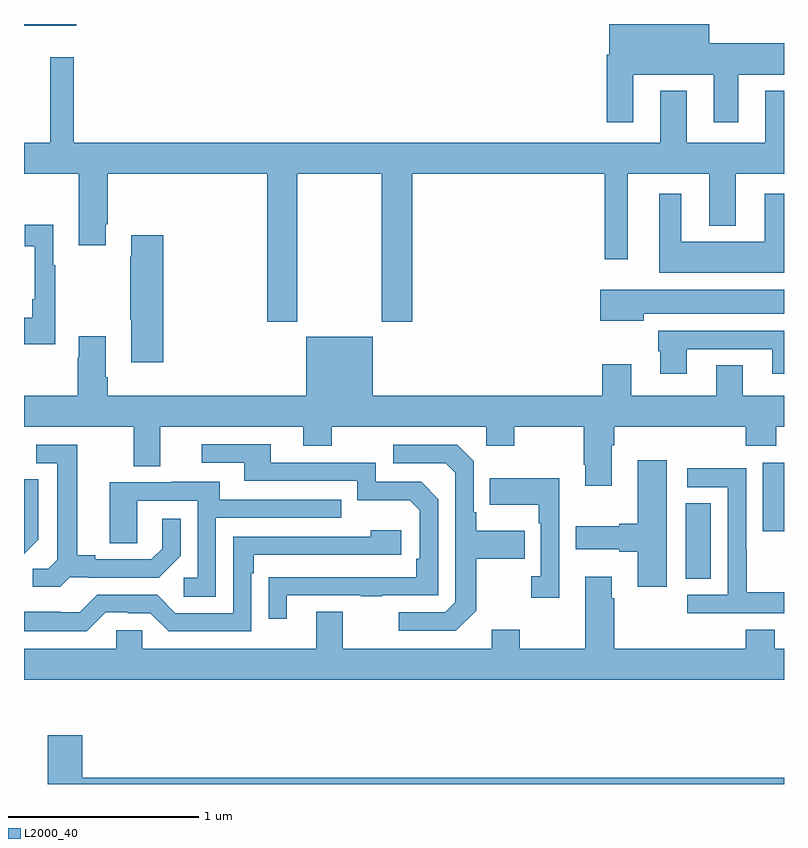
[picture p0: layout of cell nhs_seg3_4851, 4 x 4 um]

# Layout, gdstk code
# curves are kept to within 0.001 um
import gdstk
lib = gdstk.Library(unit=1e-6, precision=1e-09)
def R(c, l, rs):  # rectangles x0, y0, x1, y1
    for r in rs: c.add(gdstk.rectangle(r[:2], r[2:], *l))
def P(c, l, *ps):  # polygons
    for p in ps: c.add(gdstk.Polygon(p, *l))
L2000_40 = (2000, 40)

nhs_seg3_4851 = lib.new_cell('nhs_seg3_4851')
R(nhs_seg3_4851, L2000_40, [(376.484,669.481,376.615,669.878), (376.889,669.729,377,670.09), (373,672.392,373.276,672.4)])
P(nhs_seg3_4851, L2000_40, [(376.207,672.134),(376.631,672.134),(376.631,671.883),(376.759,671.883),(376.759,672.134),(377,672.134),(377,672.298),(376.606,672.298),(376.606,672.4),(376.079,672.4),(376.079,672.238),(376.067,672.238),(376.067,671.883),(376.207,671.883)],
  [(373.261,672.226),(373.139,672.226),(373.139,671.776),(373,671.776),(373,671.612),(373.289,671.612),(373.289,671.235),(373.429,671.235),(373.429,671.347),(373.442,671.347),(373.442,671.612),(374.279,671.612),(374.279,670.833),(374.439,670.833),(374.439,671.612),(374.884,671.612),(374.884,670.833),(375.044,670.833),(375.044,671.612),(376.056,671.612),(376.056,671.163),(376.177,671.163),(376.177,671.612),(376.607,671.612),(376.607,671.339),(376.747,671.339),(376.747,671.612),(377,671.612),(377,672.049),(376.901,672.049),(376.901,671.776),(376.489,671.776),(376.489,672.049),(376.349,672.049),(376.349,671.776),(373.261,671.776)],
  [(377,671.506),(376.898,671.506),(376.898,671.254),(376.459,671.254),(376.459,671.506),(376.343,671.506),(376.343,671.09),(377,671.09)],
  [(373.165,671.131),(373.153,671.131),(373.153,671.344),(373.005,671.344),(373.005,671.231),(373.056,671.231),(373.056,670.951),(373.044,670.951),(373.044,670.855),(373,670.855),(373,670.715),(373.165,670.715)],
  [(373.733,671.287),(373.565,671.287),(373.565,671.174),(373.558,671.174),(373.558,670.843),(373.565,670.843),(373.565,670.62),(373.733,670.62)],
  [(376.261,670.874),(377,670.874),(377,671.002),(376.032,671.002),(376.032,670.838),(376.261,670.838)],
  [(376.489,670.689),(376.937,670.689),(376.937,670.56),(377,670.56),(377,670.785),(376.337,670.785),(376.337,670.677),(376.349,670.677),(376.349,670.56),(376.489,670.56)],
  [(376.093,670.184),(376.106,670.184),(376.106,670.28),(376.799,670.28),(376.799,670.181),(376.959,670.181),(376.959,670.28),(377,670.28),(377,670.444),(376.783,670.444),(376.783,670.604),(376.643,670.604),(376.643,670.444),(376.195,670.444),(376.195,670.609),(376.043,670.609),(376.043,670.444),(374.836,670.444),(374.836,670.753),(374.486,670.753),(374.486,670.444),(373.442,670.444),(373.442,670.54),(373.429,670.54),(373.429,670.756),(373.289,670.756),(373.289,670.643),(373.282,670.643),(373.282,670.444),(373,670.444),(373,670.28),(373.577,670.28),(373.577,670.072),(373.717,670.072),(373.717,670.28),(374.471,670.28),(374.471,670.181),(374.619,670.181),(374.619,670.28),(375.432,670.28),(375.432,670.181),(375.579,670.181),(375.579,670.28),(375.946,670.28),(375.946,670.081),(375.953,670.081),(375.953,669.969),(376.093,669.969)],
  [(374.383,669.393),(374.773,669.393),(374.773,669.388),(374.885,669.388),(374.885,669.393),(375.18,669.393),(375.18,669.9),(375.09,669.99),(374.85,669.99),(374.85,670.092),(374.299,670.092),(374.299,670.188),(373.935,670.188),(373.935,670.092),(374.159,670.092),(374.159,669.996),(374.754,669.996),(374.754,669.893),(375.031,669.893),(375.084,669.84),(375.084,669.586),(375.064,669.586),(375.064,669.489),(374.287,669.488),(374.287,669.27),(374.383,669.27)],
  [(373.242,669.489),(373.336,669.489),(373.336,669.486),(373.708,669.486),(373.824,669.602),(373.824,669.796),(373.727,669.796),(373.727,669.639),(373.67,669.582),(373.375,669.582),(373.375,669.605),(373.279,669.605),(373.279,670.185),(373.065,670.185),(373.065,670.089),(373.175,670.089),(373.175,669.581),(373.128,669.534),(373.047,669.534),(373.047,669.437),(373.19,669.437)],
  [(375.379,669.313),(375.379,669.586),(375.635,669.586),(375.635,669.733),(375.379,669.733),(375.379,669.829),(375.366,669.829),(375.366,670.098),(375.279,670.185),(374.943,670.185),(374.943,670.089),(375.219,670.089),(375.27,670.038),(375.27,669.357),(375.216,669.303),(374.973,669.303),(374.973,669.207),(375.273,669.207)],
  [(376.384,670.105),(376.229,670.105),(376.229,669.77),(376.133,669.77),(376.133,669.757),(375.903,669.757),(375.903,669.635),(376.133,669.635),(376.133,669.623),(376.229,669.623),(376.229,669.438),(376.384,669.438)],
  [(377,669.409),(376.803,669.409),(376.803,669.632),(376.8,669.632),(376.8,670.062),(376.491,670.062),(376.491,669.963),(376.704,669.963),(376.704,669.396),(376.491,669.396),(376.491,669.3),(377,669.3)],
  [(375.816,670.009),(375.451,670.009),(375.451,669.869),(375.708,669.869),(375.708,669.773),(375.72,669.773),(375.72,669.494),(375.669,669.494),(375.669,669.381),(375.816,669.381)],
  [(373.002,669.612),(373.001,669.613),(373.074,669.686),(373.074,670.004),(373,670.004),(373,669.61)],
  [(374.01,669.801),(374.669,669.801),(374.669,669.897),(374.029,669.897),(374.029,669.991),(373.775,669.991),(373.775,669.987),(373.451,669.987),(373.451,669.667),(373.596,669.667),(373.596,669.891),(373.914,669.891),(373.914,669.486),(373.842,669.486),(373.842,669.385),(374.01,669.385)],
  [(373.431,669.303),(373.547,669.303),(373.547,669.3),(373.665,669.3),(373.761,669.204),(374.196,669.204),(374.196,669.509),(374.209,669.509),(374.209,669.606),(374.986,669.606),(374.986,669.736),(374.825,669.736),(374.825,669.702),(374.1,669.702),(374.1,669.3),(373.797,669.3),(373.701,669.396),(373.386,669.396),(373.293,669.303),(373.193,669.303),(373.193,669.307),(373,669.307),(373,669.203),(373.331,669.203)],
  [(377,669.112),(376.951,669.112),(376.951,669.211),(376.799,669.211),(376.799,669.112),(376.106,669.112),(376.106,669.377),(376.093,669.377),(376.093,669.49),(375.953,669.49),(375.953,669.112),(375.609,669.112),(375.609,669.211),(375.461,669.211),(375.461,669.112),(374.677,669.112),(374.677,669.307),(374.537,669.307),(374.537,669.112),(373.623,669.112),(373.623,669.21),(373.485,669.21),(373.485,669.112),(373,669.112),(373,668.948),(377,668.948)],
  [(377,668.432),(373.307,668.432),(373.307,668.656),(373.124,668.656),(373.124,668.4),(377,668.4)])

lib.write_gds('nhs_seg3_4851.gds')
